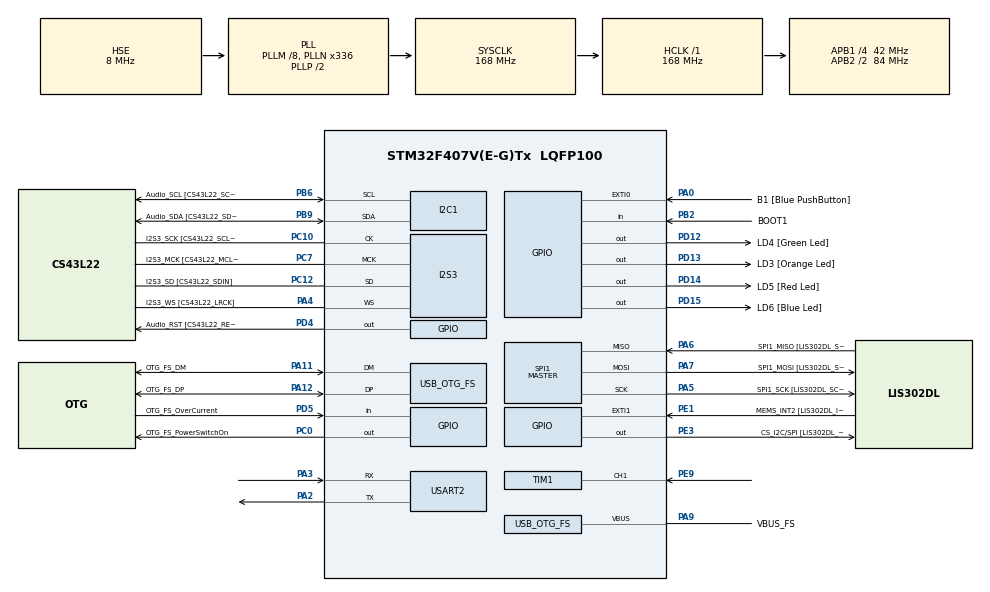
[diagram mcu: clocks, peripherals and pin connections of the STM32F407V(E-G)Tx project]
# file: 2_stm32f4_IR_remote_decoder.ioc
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I2S3.AudioFreq-Half_Duplex_Master=I2S_AUDIOFREQ_96K
I2S3.ErrorAudioFreq=-2.34 %
I2S3.ErrorAudioFreq-Half_Duplex_Master=0.8 %
I2S3.FullDuplexMode=I2S_FULLDUPLEXMODE_DISABLE
I2S3.Instance=SPI$Index
I2S3.RealAudioFreq=93.75 KHz
I2S3.RealAudioFreq-Half_Duplex_Master=96.774 KHz
I2S3.VirtualMode=I2S_MODE_MASTER
Mcu.Family=STM32F4
Mcu.Name=STM32F407V(E-G)Tx
Mcu.Package=LQFP100
NVIC.OTG_FS_IRQn=true\:0\:0\:false\:false\:true\:true\:true
NVIC.PriorityGroup=NVIC_PRIORITYGROUP_0
NVIC.TIM1_CC_IRQn=true\:0\:0\:false\:false\:true\:true\:true
PA0-WKUP.GPIO_Label=B1 [Blue PushButton]
PA0-WKUP.GPIO_ModeDefaultEXTI=GPIO_MODE_EVT_RISING
PA0-WKUP.GPIO_PuPd=GPIO_NOPULL
PA0-WKUP.Signal=GPXTI0
PA10.GPIO_Label=OTG_FS_ID
PA10.GPIO_Mode=GPIO_MODE_AF_PP
PA10.GPIO_PuPd=GPIO_NOPULL
PA10.GPIO_Speed=GPIO_SPEED_FREQ_LOW
PA10.Signal=USB_OTG_FS_ID
PA11.GPIO_Label=OTG_FS_DM
PA11.GPIO_Mode=GPIO_MODE_AF_PP
PA11.GPIO_PuPd=GPIO_NOPULL
PA11.GPIO_Speed=GPIO_SPEED_FREQ_LOW
PA11.Mode=Host_Only
PA11.Signal=USB_OTG_FS_DM
PA12.GPIO_Label=OTG_FS_DP
PA12.GPIO_Mode=GPIO_MODE_AF_PP
PA12.GPIO_PuPd=GPIO_NOPULL
PA12.GPIO_Speed=GPIO_SPEED_FREQ_LOW
PA12.Mode=Host_Only
PA12.Signal=USB_OTG_FS_DP
PA13.GPIO_Label=SWDIO
PA13.Mode=Serial_Wire
PA13.Signal=SYS_JTMS-SWDIO
PA14.GPIO_Label=SWCLK
PA14.Mode=Serial_Wire
PA14.Signal=SYS_JTCK-SWCLK
PA2.Mode=Asynchronous
PA2.Signal=USART2_TX
PA3.Mode=Asynchronous
PA3.Signal=USART2_RX
PA4.GPIO_Label=I2S3_WS [CS43L22_LRCK]
PA4.GPIO_Mode=GPIO_MODE_AF_PP
PA4.GPIO_PuPd=GPIO_NOPULL
PA4.GPIO_Speed=GPIO_SPEED_FREQ_LOW
PA4.Mode=Half_Duplex_Master
PA4.Signal=I2S3_WS
PA5.GPIO_Label=SPI1_SCK [LIS302DL_SCL/SPC]
PA5.GPIO_Mode=GPIO_MODE_AF_PP
PA5.GPIO_PuPd=GPIO_NOPULL
PA5.GPIO_Speed=GPIO_SPEED_FREQ_LOW
PA5.Mode=Full_Duplex_Master
PA5.Signal=SPI1_SCK
PA6.GPIO_Label=SPI1_MISO [LIS302DL_SDO]
PA6.GPIO_Mode=GPIO_MODE_AF_PP
PA6.GPIO_PuPd=GPIO_NOPULL
PA6.GPIO_Speed=GPIO_SPEED_FREQ_LOW
PA6.Mode=Full_Duplex_Master
PA6.Signal=SPI1_MISO
PA7.GPIO_Label=SPI1_MOSI [LIS302DL_SDA/SDI/SDO]
PA7.GPIO_Mode=GPIO_MODE_AF_PP
PA7.GPIO_PuPd=GPIO_NOPULL
PA7.GPIO_Speed=GPIO_SPEED_FREQ_LOW
PA7.Mode=Full_Duplex_Master
PA7.Signal=SPI1_MOSI
PA9.GPIO_Label=VBUS_FS
PA9.GPIO_Mode=GPIO_MODE_INPUT
PA9.GPIO_PuPd=GPIO_NOPULL
PA9.Mode=Activate_VBUS
PA9.Signal=USB_OTG_FS_VBUS
PB10.GPIO_Label=CLK_IN [MP45DT02_CLK]
PB10.GPIO_Mode=GPIO_MODE_AF_PP
PB10.GPIO_PuPd=GPIO_NOPULL
PB10.GPIO_Speed=GPIO_SPEED_FREQ_LOW
PB10.Signal=I2S2_CK
PB2.GPIO_Label=BOOT1
PB2.GPIO_Mode=GPIO_MODE_INPUT
PB2.GPIO_PuPd=GPIO_NOPULL
PB2.Signal=GPIO_Input
PB3.GPIO_Label=SWO
PB3.Signal=SYS_JTDO-SWO
PB6.GPIO_Label=Audio_SCL [CS43L22_SCL]
PB6.GPIO_Mode=GPIO_MODE_AF_OD
PB6.GPIO_PuPd=GPIO_NOPULL
PB6.GPIO_Speed=GPIO_SPEED_FREQ_LOW
PB6.Mode=I2C
PB6.Signal=I2C1_SCL
PB9.GPIO_Label=Audio_SDA [CS43L22_SDA]
PB9.GPIO_Mode=GPIO_MODE_AF_OD
PB9.GPIO_PuPd=GPIO_NOPULL
PB9.GPIO_Speed=GPIO_SPEED_FREQ_LOW
PB9.Mode=I2C
PB9.Signal=I2C1_SDA
PC0.GPIO_Label=OTG_FS_PowerSwitchOn
PC0.GPIO_PuPd=GPIO_NOPULL
PC0.GPIO_Speed=GPIO_SPEED_FREQ_LOW
PC0.PinState=GPIO_PIN_SET
PC0.Signal=GPIO_Output
PC10.GPIO_Label=I2S3_SCK [CS43L22_SCLK]
PC10.GPIO_Mode=GPIO_MODE_AF_PP
PC10.GPIO_PuPd=GPIO_NOPULL
PC10.GPIO_Speed=GPIO_SPEED_FREQ_LOW
PC10.Mode=Half_Duplex_Master
PC10.Signal=I2S3_CK
PC12.GPIO_Label=I2S3_SD [CS43L22_SDIN]
PC12.GPIO_Mode=GPIO_MODE_AF_PP
PC12.GPIO_PuPd=GPIO_NOPULL
PC12.GPIO_Speed=GPIO_SPEED_FREQ_LOW
PC12.Mode=Half_Duplex_Master
PC12.Signal=I2S3_SD
PC14-OSC32_IN.GPIO_Label=PC14-OSC32_IN
PC14-OSC32_IN.Mode=LSE-External-Oscillator
PC14-OSC32_IN.Signal=RCC_OSC32_IN
PC15-OSC32_OUT.GPIO_Label=PC15-OSC32_OUT
PC15-OSC32_OUT.Mode=LSE-External-Oscillator
PC15-OSC32_OUT.Signal=RCC_OSC32_OUT
PC3.GPIO_Label=PDM_OUT [MP45DT02_DOUT]
PC3.GPIO_Mode=GPIO_MODE_AF_PP
PC3.GPIO_PuPd=GPIO_NOPULL
PC3.GPIO_Speed=GPIO_SPEED_FREQ_LOW
PC3.Signal=I2S2_SD
PC7.GPIO_Label=I2S3_MCK [CS43L22_MCLK]
PC7.GPIO_Mode=GPIO_MODE_AF_PP
PC7.GPIO_PuPd=GPIO_NOPULL
PC7.GPIO_Speed=GPIO_SPEED_FREQ_LOW
PC7.Mode=Master_Clock_Activated
PC7.Signal=I2S3_MCK
PD12.GPIO_Label=LD4 [Green Led]
PD12.GPIO_PuPd=GPIO_NOPULL
PD12.GPIO_Speed=GPIO_SPEED_FREQ_LOW
PD12.Signal=GPIO_Output
PD13.GPIO_Label=LD3 [Orange Led]
PD13.GPIO_PuPd=GPIO_NOPULL
PD13.GPIO_Speed=GPIO_SPEED_FREQ_LOW
PD13.Signal=GPIO_Output
PD14.GPIO_Label=LD5 [Red Led]
PD14.GPIO_PuPd=GPIO_NOPULL
PD14.GPIO_Speed=GPIO_SPEED_FREQ_LOW
PD14.Signal=GPIO_Output
PD15.GPIO_Label=LD6 [Blue Led]
PD15.GPIO_PuPd=GPIO_NOPULL
PD15.GPIO_Speed=GPIO_SPEED_FREQ_LOW
PD15.Signal=GPIO_Output
PD4.GPIO_Label=Audio_RST [CS43L22_RESET]
PD4.GPIO_PuPd=GPIO_NOPULL
PD4.GPIO_Speed=GPIO_SPEED_FREQ_LOW
PD4.Signal=GPIO_Output
PD5.GPIO_Label=OTG_FS_OverCurrent
PD5.GPIO_Mode=GPIO_MODE_INPUT
PD5.GPIO_PuPd=GPIO_NOPULL
PD5.Signal=GPIO_Input
PE1.GPIO_Label=MEMS_INT2 [LIS302DL_INT2]
PE1.GPIO_ModeDefaultEXTI=GPIO_MODE_EVT_RISING
PE1.GPIO_PuPd=GPIO_NOPULL
PE1.Signal=GPXTI1
PE3.GPIO_Label=CS_I2C/SPI [LIS302DL_CS_I2C/SPI]
PE3.GPIO_PuPd=GPIO_NOPULL
PE3.GPIO_Speed=GPIO_SPEED_FREQ_LOW
PE3.Signal=GPIO_Output
PE9.Signal=S_TIM1_CH1
PH0-OSC_IN.GPIO_Label=PH0-OSC_IN
PH0-OSC_IN.Mode=HSE-External-Oscillator
PH0-OSC_IN.Signal=RCC_OSC_IN
PH1-OSC_OUT.GPIO_Label=PH1-OSC_OUT
PH1-OSC_OUT.Mode=HSE-External-Oscillator
PH1-OSC_OUT.Signal=RCC_OSC_OUT
ProjectManager.HeapSize=0x200
ProjectManager.StackSize=0x400
ProjectManager.TargetToolchain=STM32CubeIDE
RCC.48MHZClocksFreq_Value=48000000
RCC.AHBFreq_Value=168000000
RCC.APB1CLKDivider=RCC_HCLK_DIV4
RCC.APB1Freq_Value=42000000
RCC.APB1TimFreq_Value=84000000
RCC.APB2CLKDivider=RCC_HCLK_DIV2
RCC.APB2Freq_Value=84000000
RCC.APB2TimFreq_Value=168000000
RCC.CortexFreq_Value=168000000
RCC.HCLKFreq_Value=168000000
RCC.HSE_VALUE=8000000
RCC.HSI_VALUE=16000000
RCC.PLLM=8
RCC.PLLN=336
RCC.PLLQ=7
RCC.SYSCLKFreq_VALUE=168000000
RCC.SYSCLKSource=RCC_SYSCLKSOURCE_PLLCLK
RCC.VCOOutputFreq_Value=336000000
SH.S_TIM1_CH1.0=TIM1_CH1,Input_Capture1_from_TI1
SPI1.BaudRatePrescaler-Full_Duplex_Master=SPI_BAUDRATEPRESCALER_2
SPI1.CalculateBaudRate-Full_Duplex_Master=42.0 MBits/s
SPI1.Direction=SPI_DIRECTION_2LINES
SPI1.Mode=SPI_MODE_MASTER
SPI1.Mode-Full_Duplex_Master=SPI_MODE_MASTER
SPI1.VirtualType=VM_MASTER
TIM1.AutoReloadPreload=TIM_AUTORELOAD_PRELOAD_ENABLE
TIM1.Channel-Input_Capture1_from_TI1=TIM_CHANNEL_1
TIM1.ICPolarity_CH1=TIM_INPUTCHANNELPOLARITY_BOTHEDGE
TIM1.Period=32767
USART2.VirtualMode=VM_ASYNC
USB_HOST.BSP.number=1
USB_HOST.USBH_HandleTypeDef-CDC_FS=hUsbHostFS
USB_HOST.VirtualModeFS=Cdc
USB_HOST0.BSP.STBoard=false
USB_HOST0.BSP.api=Unknown
USB_HOST0.BSP.i2caddr=0
USB_HOST0.BSP.i2creg=0
USB_HOST0.BSP.instance=PC0
USB_HOST0.BSP.ip=GPIO
USB_HOST0.BSP.mode=Output
USB_HOST0.BSP.name=Drive_VBUS_FS
USB_HOST0.BSP.solution=PC0
USB_OTG_FS.VirtualMode=Host_Only
USB_OTG_FS.phy_itface=HCD_PHY_EMBEDDED
VP_TIM1_VS_ClockSourceINT.Mode=Internal
VP_USB_HOST_VS_USB_HOST_CDC_FS.Mode=CDC_FS
board=STM32F407G-DISC1

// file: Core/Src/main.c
/* USER CODE BEGIN Header */
/**
  ******************************************************************************
  * @file           : main.c
  * @brief          : Main program body
  ******************************************************************************
  * @attention
  *
  * <h2><center>&copy; Copyright (c) 2020 STMicroelectronics.
  * All rights reserved.</center></h2>
  *
  * This software component is licensed by ST under Ultimate Liberty license
  * SLA0044, the "License"; You may not use this file except in compliance with
  * the License. You may obtain a copy of the License at:
  *                             www.st.com/SLA0044
  *
  ******************************************************************************
  */
/* USER CODE END Header */

#include "main.h"
#include "i2c.h"
#include "i2s.h"
#include "spi.h"
#include "tim.h"
#include "usart.h"
#include "usb_host.h"
#include "gpio.h"

/* USER CODE BEGIN Includes */
#include <stdio.h>
#include "../../keydata/key0.h"
#include "../../keydata/key1.h"
#include "../../keydata/key2.h"
#include "../../keydata/key3.h"
#include "../../keydata/key4.h"
#include <math.h>
#include <stdlib.h>
/* USER CODE END Includes */

void SystemClock_Config(void);
void MX_USB_HOST_Process(void);

/* USER CODE BEGIN 0 */

int _write(int file, char *ptr, int len)
{
	int i = 0;
	 for( i = 0 ; i < len; i++) {
		 ITM_SendChar((*ptr++));
	 }
	 return len;
}

int buff[150];
int buf_index;
int buf_read_index;

void HAL_TIM_IC_CaptureCallback(TIM_HandleTypeDef *tim)
{
	static int pv = 0;
	static int cv = 0;
	int diff;
	cv = HAL_TIM_ReadCapturedValue(tim, TIM_CHANNEL_1);

	if(cv >= pv)
		diff = cv - pv;
	else
		diff = 0xffff - pv + 1 + cv;

	buff[buf_index++] = diff;
	if(buf_index >= 150) buf_index = 0;

	pv = cv;
}

int match(const int buff1[], int buff2[], int size)
{
	  int match = 0;
	  for(int i = 0; i < 68; i++) {
		  if(abs(buff1[i] - buff2[i])  < 10) {
			  match++;
		  }

	  }
	  return match;
}

/* USER CODE END 0 */

int main(void)
{

  /* MCU Configuration--------------------------------------------------------*/

  /* Reset of all peripherals, Initializes the Flash interface and the Systick. */
  HAL_Init();

  /* Configure the system clock */
  SystemClock_Config();

  /* Initialize all configured peripherals */
  MX_GPIO_Init();
  MX_I2C1_Init();
  MX_I2S3_Init();
  MX_SPI1_Init();
  MX_USB_HOST_Init();
  MX_TIM1_Init();
  MX_USART2_UART_Init();
  /* USER CODE BEGIN 2 */

  HAL_TIM_IC_Start_IT(&htim1, TIM_CHANNEL_1);
  /* USER CODE END 2 */

  /* Infinite loop */
  /* USER CODE BEGIN WHILE */
  int s = sizeof(key0)/sizeof(int);
  printf("key0 size = %d\n", s);
   s = sizeof(key1)/sizeof(int);
  printf("key1 size = %d\n", s);
   s = sizeof(key2)/sizeof(int);
  printf("key2 size = %d\n", s);
   s = sizeof(key3)/sizeof(int);
  printf("key3 size = %d\n", s);
   s = sizeof(key4)/sizeof(int);
  printf("key4 size = %d\n", s);

  while (1)
  {
    /* USER CODE END WHILE */
  //  MX_USB_HOST_Process();

    /* USER CODE BEGIN 3 */
//    printf("HeLLO\n");
	  if( buf_index >= 69) {
		  printf("pressed\n");
		  //HAL_Delay(300);

		  if(1) {//always pass
			  int matchvalue;

			  matchvalue = match(key0, &buff[1], 68);
			  if(matchvalue == 68) {
				  GPIOD->ODR &= ~( (1<<12) |(1<<13) |(1<<14) |(1<<15) ) ;
				  printf("KEY0 MATCHING\n");
			  }

			  matchvalue = match(key1, &buff[1], 68);
			  if(matchvalue == 68) {
				  GPIOD->ODR ^= 1<<12;
				  printf("KEY1 MATCHING\n");
			  }

			  matchvalue = match(key2, &buff[1], 68);
			  if(matchvalue == 68) {
				  GPIOD->ODR ^= 1<<13;
				  printf("KEY2 MATCHING\n");
			  }

			  matchvalue = match(key3, &buff[1], 68);
			  if(matchvalue == 68) {
				  GPIOD->ODR ^= 1<<14;
				  printf("KEY3 MATCHING\n");
			  }

			  matchvalue = match(key4, &buff[1], 68);
			  if(matchvalue == 68) {
				  GPIOD->ODR ^= 1<<15;
				  printf("KEY4 MATCHING\n");
			  }

		  }

		  HAL_Delay(400);
		  buf_read_index = 0;
		  buf_index = 0;
	  }

  }
  /* USER CODE END 3 */
}

void SystemClock_Config(void)
{
  RCC_OscInitTypeDef RCC_OscInitStruct = {0};
  RCC_ClkInitTypeDef RCC_ClkInitStruct = {0};
  RCC_PeriphCLKInitTypeDef PeriphClkInitStruct = {0};

  /** Configure the main internal regulator output voltage
  */
  __HAL_RCC_PWR_CLK_ENABLE();
  __HAL_PWR_VOLTAGESCALING_CONFIG(PWR_REGULATOR_VOLTAGE_SCALE1);
  /** Initializes the CPU, AHB and APB busses clocks
  */
  RCC_OscInitStruct.OscillatorType = RCC_OSCILLATORTYPE_HSE;
  RCC_OscInitStruct.HSEState = RCC_HSE_ON;
  RCC_OscInitStruct.PLL.PLLState = RCC_PLL_ON;
  RCC_OscInitStruct.PLL.PLLSource = RCC_PLLSOURCE_HSE;
  RCC_OscInitStruct.PLL.PLLM = 8;
  RCC_OscInitStruct.PLL.PLLN = 336;
  RCC_OscInitStruct.PLL.PLLP = RCC_PLLP_DIV2;
  RCC_OscInitStruct.PLL.PLLQ = 7;
  if (HAL_RCC_OscConfig(&RCC_OscInitStruct) != HAL_OK)
  {
    Error_Handler();
  }
  /** Initializes the CPU, AHB and APB busses clocks
  */
  RCC_ClkInitStruct.ClockType = RCC_CLOCKTYPE_HCLK|RCC_CLOCKTYPE_SYSCLK
                              |RCC_CLOCKTYPE_PCLK1|RCC_CLOCKTYPE_PCLK2;
  RCC_ClkInitStruct.SYSCLKSource = RCC_SYSCLKSOURCE_PLLCLK;
  RCC_ClkInitStruct.AHBCLKDivider = RCC_SYSCLK_DIV1;
  RCC_ClkInitStruct.APB1CLKDivider = RCC_HCLK_DIV4;
  RCC_ClkInitStruct.APB2CLKDivider = RCC_HCLK_DIV2;

  if (HAL_RCC_ClockConfig(&RCC_ClkInitStruct, FLASH_LATENCY_5) != HAL_OK)
  {
    Error_Handler();
  }
  PeriphClkInitStruct.PeriphClockSelection = RCC_PERIPHCLK_I2S;
  PeriphClkInitStruct.PLLI2S.PLLI2SN = 192;
  PeriphClkInitStruct.PLLI2S.PLLI2SR = 2;
  if (HAL_RCCEx_PeriphCLKConfig(&PeriphClkInitStruct) != HAL_OK)
  {
    Error_Handler();
  }
}

void Error_Handler(void)
{
}

/************************ (C) COPYRIGHT STMicroelectronics *****END OF FILE****/
